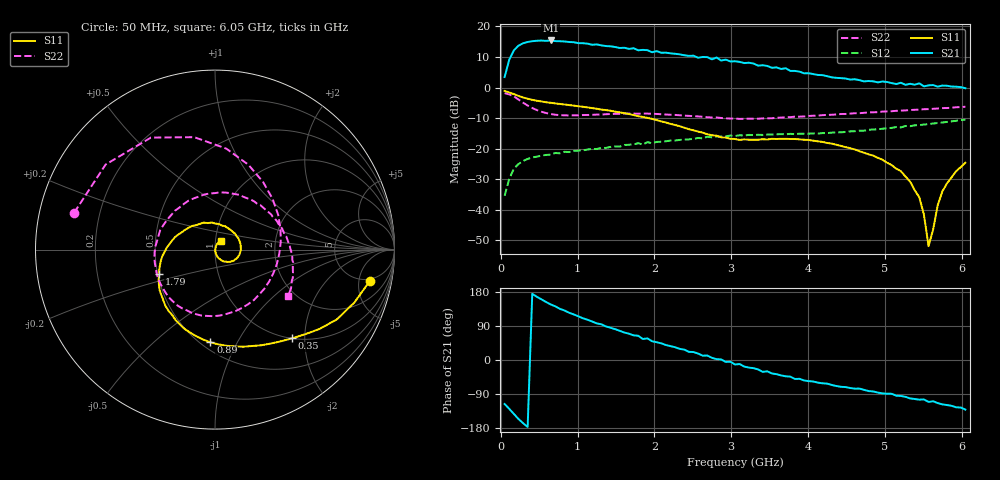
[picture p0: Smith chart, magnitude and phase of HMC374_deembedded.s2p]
!Hittite Microwave Corporation
!20 Alpha Road
!Chelmsford, MA 01824
!Tel: 978-250-3343
!Fax: 978-250-3373
!Device: HMC374, 0.2-3 GHz, GaAs PHEMT MMIC High IP3 LNA in SOT26 package
!Misc: +5V, Room
# MHZ S MA R 50
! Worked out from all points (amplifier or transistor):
!   101 points, 50 MHz to 6.05 GHz, reference 50 ohm
!   highest |S21| = 15.4 dB at 650 MHz (marker M1)
!   |S21| within 3 dB of that: 180.2 MHz to 1.771 GHz (1.59 GHz wide, 163 % of centre)
!   unconditionally stable (mu >= 1): start of sweep to 568.2 MHz; 2.263 GHz to end of sweep
!   at 1.01 GHz: K = 0.90, MSG = 17.6 dB, |S12| = -20.6 dB
!   at 3.05 GHz: K = 1.24, MAG = 9.3 dB, |S12| = -15.9 dB
!   at 6.05 GHz: K = 1.45, MAG = 1.1 dB, |S12| = -10.5 dB
!   S11 on the Smith chart (normalised r, x): 50 MHz: 4.55, -7.06; 350 MHz: 1.00, -1.74; 890 MHz: 0.56, -0.78; 1.79 GHz: 0.51, -0.16; 6.05 GHz: 1.06, +0.10
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50  0.88 -11.5  1.483 -116.0  0.017 76.8  0.811 165.3
110  0.831 -20.7  2.846 -128.8  0.032 69.5  0.772 142.1
170  0.782 -29.9  4.043 -142.2  0.047 57.9  0.719 119.8
230  0.731 -37.2  4.835 -155.6  0.056 48.4  0.637 100.5
350  0.655 -48.9  5.555 -176.7  0.068 36.3  0.508 68.5
470  0.609 -59.2  5.824 166.7  0.074 29.3  0.428 41.5
650  0.563 -73.9  5.888 146.6  0.08 21.5  0.369 6.8
890  0.517 -92.8  5.556 124.7  0.088 16.4  0.35 -30.4
1070  0.484 -106.2  5.301 110.0  0.094 11.9  0.355 -52.5
1610  0.382 -143.9  4.469 72.5  0.115 1.5  0.375 -101.4
1790  0.34 -156.2  4.064 63.9  0.123 0.1  0.373 -114.9
1850  0.33 -160.2  4.127 55.5  0.117 -3.9  0.375 -119.6
2090  0.279 -178.0  3.701 43.9  0.13 -7.7  0.366 -138.1
2810  0.163 113.0  3.098 2.3  0.158 -29.4  0.324 160.2
3050  0.144 81.4  2.689 -11.9  0.161 -35.2  0.311 136.0
3410  0.143 38.6  2.315 -31.3  0.168 -45.4  0.313 100.7
4070  0.135 -16.4  1.659 -56.8  0.178 -60.5  0.346 50.7
5090  0.054 -66.5  1.182 -89.1  0.219 -83.8  0.41 6.1
5450  0.016 -77.1  1.171 -104.6  0.243 -92.5  0.435 -7.8
5570  0.002546 -72.8  1.086 -110.6  0.253 -96.6  0.444 -12.6
5750  0.02 75.1  1.076 -117.1  0.268 -102.7  0.461 -19.8
6050  0.059 55.8  0.974 -130.9  0.299 -114.0  0.485 -32.6
